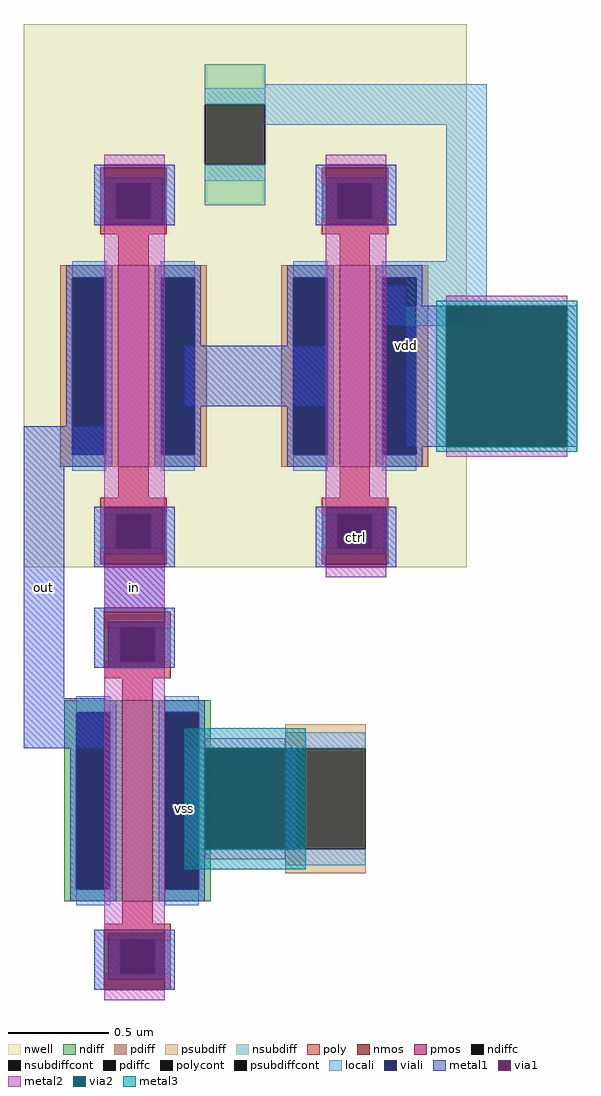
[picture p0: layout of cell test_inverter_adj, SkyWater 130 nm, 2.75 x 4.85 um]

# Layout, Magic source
magic
tech sky130A
magscale 1 2
<< nwell >>
rect 520 540 960 680
rect 720 140 740 540
rect 940 140 960 540
<< psubdiff >>
rect 780 -40 860 -16
rect 780 -164 860 -140
<< nsubdiff >>
rect 700 600 760 640
rect 700 500 760 540
<< psubdiffcont >>
rect 780 -140 860 -40
<< nsubdiffcont >>
rect 700 540 760 600
<< locali >>
rect 760 616 980 620
rect 700 600 980 616
rect 760 580 980 600
rect 700 524 760 540
rect 940 444 980 580
rect 906 440 980 444
rect 900 380 980 440
rect 780 -40 860 -24
rect 680 -140 780 -40
rect 780 -156 860 -140
<< metal1 >>
rect 590 480 600 540
rect 660 480 670 540
rect 810 480 820 540
rect 880 480 890 540
rect 880 400 900 420
rect 880 380 940 400
rect 680 300 820 360
rect 520 240 600 280
rect 900 260 940 380
rect 1060 260 1070 400
rect 520 10 560 240
rect 590 140 600 200
rect 660 140 670 200
rect 810 140 820 200
rect 880 140 890 200
rect 600 100 660 140
rect 590 40 600 100
rect 660 40 670 100
rect 520 -40 600 10
rect 680 -140 700 -40
rect 780 -140 790 -40
rect 590 -280 600 -220
rect 660 -280 670 -220
<< via1 >>
rect 600 480 660 540
rect 820 480 880 540
rect 940 260 1060 400
rect 600 140 660 200
rect 820 140 880 200
rect 600 40 660 100
rect 700 -140 780 -40
rect 600 -280 660 -220
<< metal2 >>
rect 600 540 660 550
rect 600 200 660 480
rect 600 100 660 140
rect 820 540 880 550
rect 820 200 880 480
rect 940 400 1060 410
rect 940 250 1060 260
rect 820 130 880 140
rect 600 -220 660 40
rect 700 -40 780 -30
rect 700 -150 780 -140
rect 600 -290 660 -280
<< via2 >>
rect 940 260 1060 400
rect 700 -140 780 -40
<< metal3 >>
rect 930 400 1070 405
rect 930 260 940 400
rect 1060 260 1070 400
rect 930 255 1070 260
rect 680 -40 800 -20
rect 680 -140 700 -40
rect 780 -140 800 -40
rect 680 -160 800 -140
use sky130_fd_pr__nfet_01v8_DM32AP  sky130_fd_pr__nfet_01v8_DM32AP_0
transform 1 0 633 0 1 -92
box -73 -188 73 188
use sky130_fd_pr__pfet_01v8_CW6TWB  sky130_fd_pr__pfet_01v8_CW6TWB_1
transform 1 0 849 0 1 340
box -109 -200 109 200
use sky130_fd_pr__pfet_01v8_CW6TWB  sky130_fd_pr__pfet_01v8_CW6TWB_0
transform 1 0 629 0 1 340
box -109 -200 109 200
<< labels >>
rlabel metal1 520 100 560 140 1 out
rlabel space 880 340 920 380 1 vdd
rlabel via1 820 140 880 200 1 ctrl
rlabel metal2 600 100 660 140 1 in
rlabel space 660 -120 700 -80 1 vss
<< end >>

# cell sky130_fd_pr__nfet_01v8_DM32AP: kit device sky130_fd_pr__nfet_01v8, w 1.0 l 0.150 m 1 nf 1 diffcov 100 polycov 100 guard 0 glc 0 grc 0 gtc 0 gbc 0 tbcov 100 rlcov 100 topc 1 botc 1 poverlap 0 doverlap 1 lmin 0.15 wmin 0.42 compatible {sky130_fd_pr__nfet_01v8 sky130_fd_pr__nfet_01v8_lvt sky130_fd_bs_flash__special_sonosfet_star sky130_fd_pr__nfet_g5v0d10v5 sky130_fd_pr__nfet_05v0_nvt} full_metal 0 viasrc 100 viadrn 100 viagate 100 viagb 0 viagr 0 viagl 0 viagt 0

# cell sky130_fd_pr__pfet_01v8_CW6TWB: kit device sky130_fd_pr__pfet_01v8, w 1.0 l 0.15 m 1 nf 1 diffcov 100 polycov 100 guard 0 glc 0 grc 0 gtc 0 gbc 0 tbcov 100 rlcov 100 topc 1 botc 1 poverlap 0 doverlap 1 lmin 0.15 wmin 0.42 compatible {sky130_fd_pr__pfet_01v8 sky130_fd_pr__pfet_01v8_lvt sky130_fd_pr__pfet_01v8_hvt sky130_fd_pr__pfet_g5v0d10v5} full_metal 0 viagl 0 viagr 0 viagt 0 viagb 0 viagate 100 viadrn 100 viasrc 100
